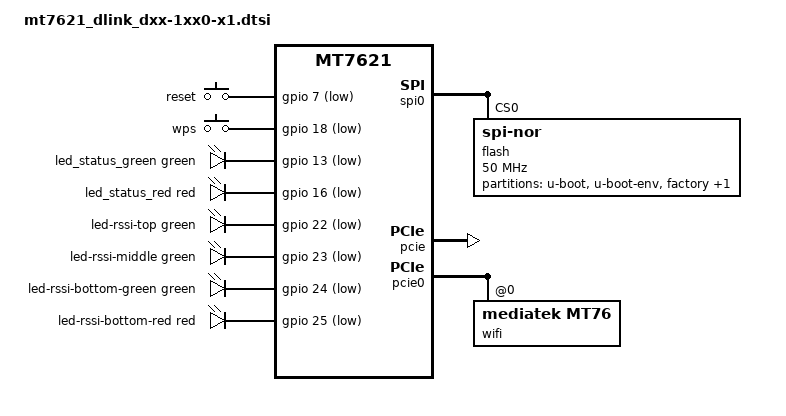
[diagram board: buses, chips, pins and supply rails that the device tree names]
// SPDX-License-Identifier: GPL-2.0-or-later OR MIT

#include "mt7621.dtsi"

#include <dt-bindings/gpio/gpio.h>
#include <dt-bindings/input/input.h>
#include <dt-bindings/leds/common.h>

/ {
	aliases {
		label-mac-device = &gmac0;

		led-boot = &led_status_green;
		led-failsafe = &led_status_red;
		led-running = &led_status_green;
		led-upgrade = &led_status_red;
	};

	keys {
		compatible = "gpio-keys";

		button-reset {
			label = "reset";
			gpios = <&gpio 7 GPIO_ACTIVE_LOW>;
			linux,code = <KEY_RESTART>;
			debounce-interval = <60>;
		};

		button-wps {
			label = "wps";
			gpios = <&gpio 18 GPIO_ACTIVE_LOW>;
			linux,code = <KEY_WPS_BUTTON>;
		};
	};

	leds {
		compatible = "gpio-leds";

		led_status_green: led-status-green {
			color = <LED_COLOR_ID_GREEN>;
			function = LED_FUNCTION_STATUS;
			gpios = <&gpio 13 GPIO_ACTIVE_LOW>;
		};

		led_status_red: led-status-red {
			color = <LED_COLOR_ID_RED>;
			function = LED_FUNCTION_STATUS;
			gpios = <&gpio 16 GPIO_ACTIVE_LOW>;
		};

		led-rssi-top {
			color = <LED_COLOR_ID_GREEN>;
			function = "signal"; //LED_FUNCTION_SIGNAL;
			function-enumerator = <3>;
			gpios = <&gpio 22 GPIO_ACTIVE_LOW>;
		};

		led-rssi-middle {
			color = <LED_COLOR_ID_GREEN>;
			function = "signal"; //LED_FUNCTION_SIGNAL;
			function-enumerator = <2>;
			gpios = <&gpio 23 GPIO_ACTIVE_LOW>;
		};

		led-rssi-bottom-green {
			color = <LED_COLOR_ID_GREEN>;
			function = "signal"; //LED_FUNCTION_SIGNAL;
			function-enumerator = <1>;
			gpios = <&gpio 24 GPIO_ACTIVE_LOW>;
		};

		led-rssi-bottom-red {
			color = <LED_COLOR_ID_RED>;
			function = "signal"; //LED_FUNCTION_SIGNAL;
			function-enumerator = <1>;
			gpios = <&gpio 25 GPIO_ACTIVE_LOW>;
		};
	};
};

&spi0 {
	status = "okay";

	flash@0 {
		compatible = "jedec,spi-nor";
		reg = <0>;
		spi-max-frequency = <50000000>;
		#address-cells = <1>;
		#size-cells = <1>;

		partitions {
			compatible = "fixed-partitions";

			partition@0 {
				label = "u-boot";
				reg = <0x0 0x30000>;
				read-only;
			};

			partition@30000 {
				label = "u-boot-env";
				reg = <0x30000 0x10000>;
				read-only;
			};

			partition@40000 {
				label = "factory";
				reg = <0x40000 0x10000>;
				read-only;

				nvmem-layout {
					compatible = "fixed-layout";
					#address-cells = <1>;
					#size-cells = <1>;

					eeprom_factory_0: eeprom@0 {
						reg = <0x0 0x4da8>;
					};

					macaddr_factory_e000: macaddr@e000 {
						compatible = "mac-base";
						reg = <0xe000 0x6>;
						#nvmem-cell-cells = <1>;
					};
				};
			};

			partition@50000 {
				compatible = "denx,uimage";
				label = "firmware";
				reg = <0x50000 0xfb0000>;
			};
		};
	};
};

&pcie {
	status = "okay";
};

&pcie0 {
	wifi@0,0 {
		compatible = "mediatek,mt76";
		reg = <0x0000 0 0 0 0>;
		nvmem-cells = <&eeprom_factory_0>;
		nvmem-cell-names = "eeprom";

		#address-cells = <1>;
		#size-cells = <0>;

		band@0 { /* 2.4 GHz */
			reg = <0>;
			nvmem-cells = <&macaddr_factory_e000 1>;
			nvmem-cell-names = "mac-address";
		};

		band@1 { /* 5 GHz */
			reg = <1>;
			nvmem-cells = <&macaddr_factory_e000 2>;
			nvmem-cell-names = "mac-address";
		};
	};
};

&gmac0 {
	nvmem-cells = <&macaddr_factory_e000 0>;
	nvmem-cell-names = "mac-address";
};

&switch0 {
	ports {
		port@0 {
			status = "okay";
			label = "lan";
		};
	};
};

&ethernet {
	pinctrl-0 = <&mdio_pins>, <&rgmii1_pins>;
};

&state_default {
	gpio {
		groups = "uart3", "jtag", "wdt";
		function = "gpio";
	};
};
